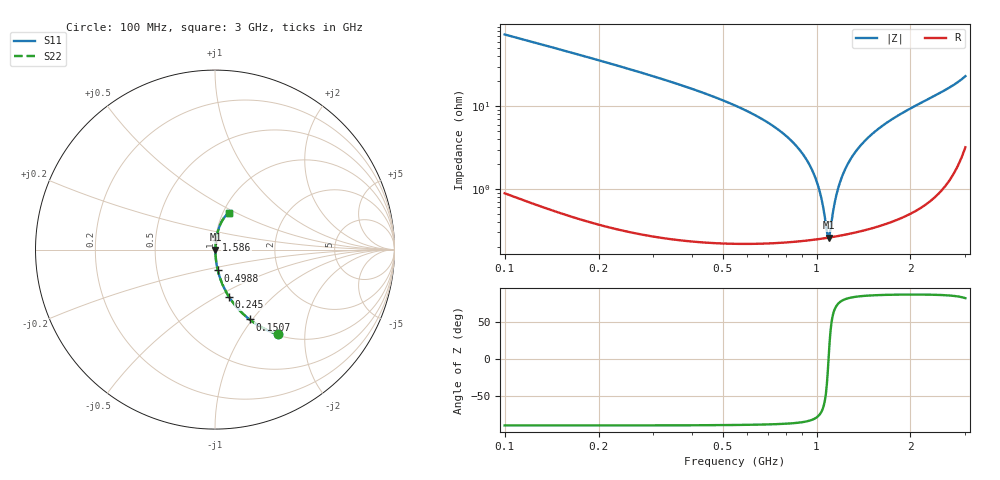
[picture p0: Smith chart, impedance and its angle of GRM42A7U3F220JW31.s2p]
!Murata Part Number: GRM42A7U3F220JW31
!These Parameters are Measured in Series Mode Connection
!Data Generated on Mar 30, 2021
!  o--ll--o
!Port1  Port2
!  o------o
!Operation Temp=25[degC], DC Bias Voltage=0[V]
!Freq. Start=100[MHz] Stop=3[GHz] 401[Steps]
# Hz S RI R 50
!Freq.(Hz) S11(Real) S11(Imag) S21(Real) S21(Imag) S12(Real) S12(Imag) S22(Real) S22(Imag)
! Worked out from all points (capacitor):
!   401 points, 100 MHz to 3 GHz, reference 50 ohm
!   read as one part in series: C = 21.4 pF near 114.5 MHz
!   lowest |Z| = 259 mohm at 1.093 GHz (marker M1)
!   series resonance near 1.093 GHz, so ESL is about 990 pH
!   S11 on the Smith chart (normalised r, x): 100 MHz: 1.02, -1.47; 150.8 MHz: 1.01, -0.97; 245 MHz: 1.01, -0.58; 498.8 MHz: 1.00, -0.24; 1.586 GHz: 1.01, +0.11; 3 GHz: 1.06, +0.46
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1e8  0.3531 -0.4719  0.6469 0.4719  0.6469 0.4719  0.3531 -0.4719
1.5075e8  0.1923 -0.3889  0.8077 0.3889  0.8077 0.3889  0.1923 -0.3889
2.45e8  0.0793 -0.265  0.9207 0.265  0.9207 0.265  0.0793 -0.265
4.9875e8  0.016 -0.1164  0.984 0.1164  0.984 0.1164  0.016 -0.1164
5.8575e8  0.0103 -0.0898  0.9897 0.0898  0.9897 0.0898  0.0103 -0.0898
7.96e8  0.00419 -0.0439  0.9958 0.0439  0.9958 0.0439  0.00419 -0.0439
9.265e8  0.00289 -0.0227  0.9971 0.0227  0.9971 0.0227  0.00289 -0.0227
9.7725e8  0.00266 -0.0153  0.9973 0.0153  0.9973 0.0153  0.00266 -0.0153
1.0135e9  0.00258 -0.0103  0.9974 0.0103  0.9974 0.0103  0.00258 -0.0103
1.0425e9  0.00255 -0.00645  0.9974 0.00645  0.9974 0.00645  0.00255 -0.00645
1.0715e9  0.00256 -0.00268  0.9974 0.00268  0.9974 0.00268  0.00256 -0.00268
1.09325e9  0.00258 9.02e-05  0.9974 -9.02e-05  0.9974 -9.02e-05  0.00258 9.02e-05
1.10775e9  0.0026 0.00191  0.9974 -0.00191  0.9974 -0.00191  0.0026 0.00191
1.13675e9  0.00267 0.00547  0.9973 -0.00547  0.9973 -0.00547  0.00267 0.00547
1.16575e9  0.00277 0.00896  0.9972 -0.00896  0.9972 -0.00896  0.00277 0.00896
1.23825e9  0.00311 0.0174  0.9969 -0.0174  0.9969 -0.0174  0.00311 0.0174
1.3615e9  0.00398 0.0308  0.996 -0.0308  0.996 -0.0308  0.00398 0.0308
1.55e9  0.00595 0.0499  0.994 -0.0499  0.994 -0.0499  0.00595 0.0499
1.58625e9  0.00641 0.0534  0.9936 -0.0534  0.9936 -0.0534  0.00641 0.0534
2.03575e9  0.0144 0.0955  0.9856 -0.0955  0.9856 -0.0955  0.0144 0.0955
2.5215e9  0.0306 0.1429  0.9694 -0.1429  0.9694 -0.1429  0.0306 0.1429
3e9  0.0763 0.2047  0.9237 -0.2047  0.9237 -0.2047  0.0763 0.2047
